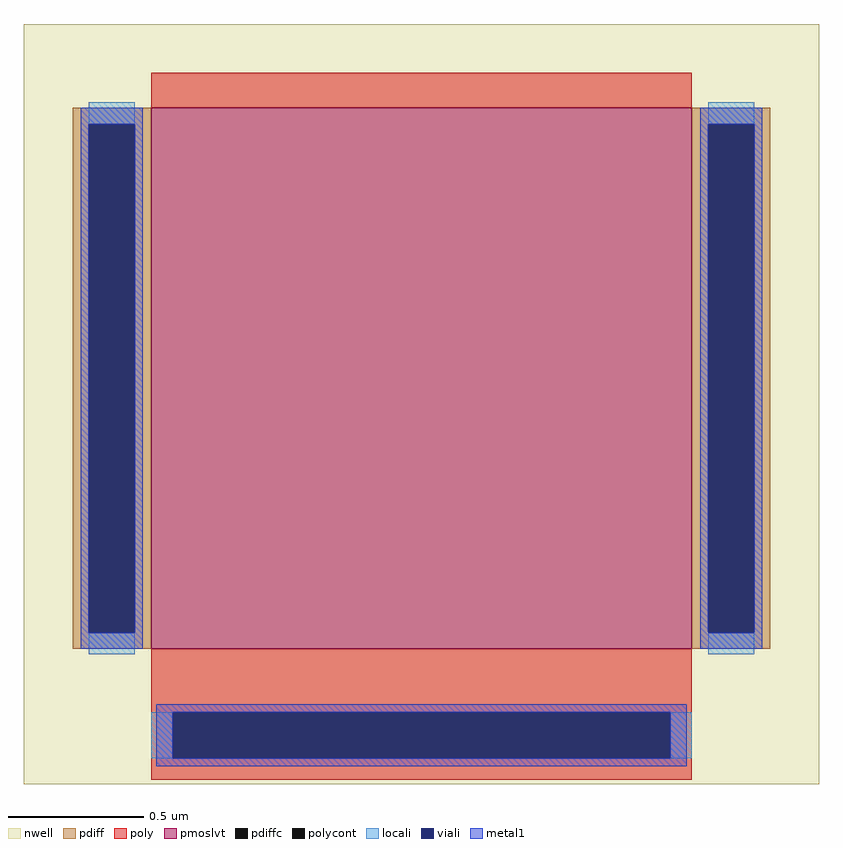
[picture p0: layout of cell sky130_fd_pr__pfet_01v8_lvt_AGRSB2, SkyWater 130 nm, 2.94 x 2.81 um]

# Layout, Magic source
magic
tech sky130A
magscale 1 2
<< nwell >>
rect -294 -264 294 298
<< pmoslvt >>
rect -200 -164 200 236
<< pdiff >>
rect -258 224 -200 236
rect -258 -152 -246 224
rect -212 -152 -200 224
rect -258 -164 -200 -152
rect 200 224 258 236
rect 200 -152 212 224
rect 246 -152 258 224
rect 200 -164 258 -152
<< pdiffc >>
rect -246 -152 -212 224
rect 212 -152 246 224
<< poly >>
rect -200 236 200 262
rect -200 -211 200 -164
rect -200 -245 -184 -211
rect 184 -245 200 -211
rect -200 -261 200 -245
<< polycont >>
rect -184 -245 184 -211
<< locali >>
rect -246 224 -212 240
rect -246 -168 -212 -152
rect 212 224 246 240
rect 212 -168 246 -152
rect -200 -245 -184 -211
rect 184 -245 200 -211
<< viali >>
rect -246 -152 -212 224
rect 212 -152 246 224
rect -184 -245 184 -211
<< metal1 >>
rect -252 224 -206 236
rect -252 -152 -246 224
rect -212 -152 -206 224
rect -252 -164 -206 -152
rect 206 224 252 236
rect 206 -152 212 224
rect 246 -152 252 224
rect 206 -164 252 -152
rect -196 -211 196 -205
rect -196 -245 -184 -211
rect 184 -245 196 -211
rect -196 -251 196 -245
<< properties >>
string gencell sky130_fd_pr__pfet_01v8_lvt
string library sky130
string parameters w 2 l 2.0 m 1 nf 1 diffcov 100 polycov 100 guard 0 glc 1 grc 1 gtc 1 gbc 1 tbcov 100 rlcov 100 topc 0 botc 1 poverlap 0 doverlap 1 lmin 0.35 wmin 0.42 compatible {sky130_fd_pr__pfet_01v8  sky130_fd_pr__pfet_01v8_lvt sky130_fd_pr__pfet_01v8_hvt  sky130_fd_pr__pfet_g5v0d10v5} full_metal 0 viasrc 100 viadrn 100 viagate 100 viagb 0 viagr 0 viagl 0 viagt 0
<< end >>
